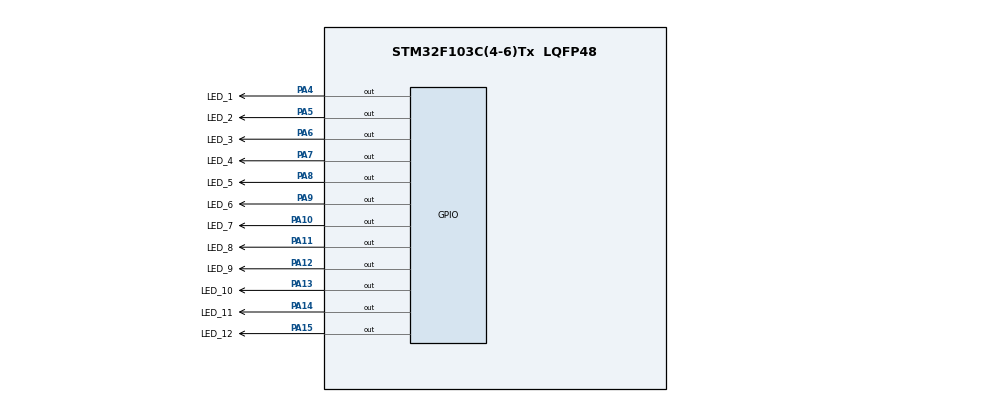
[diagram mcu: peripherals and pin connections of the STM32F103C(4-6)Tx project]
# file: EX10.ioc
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Mcu.Family=STM32F1
Mcu.Name=STM32F103C(4-6)Tx
Mcu.Package=LQFP48
NVIC.PriorityGroup=NVIC_PRIORITYGROUP_4
PA10.GPIO_Label=LED_7
PA10.Signal=GPIO_Output
PA11.GPIO_Label=LED_8
PA11.Signal=GPIO_Output
PA12.GPIO_Label=LED_9
PA12.Signal=GPIO_Output
PA13.GPIO_Label=LED_10
PA13.Signal=GPIO_Output
PA14.GPIO_Label=LED_11
PA14.Signal=GPIO_Output
PA15.GPIO_Label=LED_12
PA15.Signal=GPIO_Output
PA4.GPIO_Label=LED_1
PA4.Signal=GPIO_Output
PA5.GPIO_Label=LED_2
PA5.Signal=GPIO_Output
PA6.GPIO_Label=LED_3
PA6.Signal=GPIO_Output
PA7.GPIO_Label=LED_4
PA7.Signal=GPIO_Output
PA8.GPIO_Label=LED_5
PA8.Signal=GPIO_Output
PA9.GPIO_Label=LED_6
PA9.Signal=GPIO_Output
ProjectManager.HeapSize=0x200
ProjectManager.StackSize=0x400
ProjectManager.TargetToolchain=STM32CubeIDE
RCC.APB1Freq_Value=8000000
RCC.APB2Freq_Value=8000000
VP_SYS_VS_ND.Mode=No_Debug
board=custom

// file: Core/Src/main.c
/* USER CODE BEGIN Header */
/**
  ******************************************************************************
  * @file           : main.c
  * @brief          : Main program body
  ******************************************************************************
  * @attention
  *
  * <h2><center>&copy; Copyright (c) 2023 STMicroelectronics.
  * All rights reserved.</center></h2>
  *
  * This software component is licensed by ST under BSD 3-Clause license,
  * the "License"; You may not use this file except in compliance with the
  * License. You may obtain a copy of the License at:
  *                        opensource.org/licenses/BSD-3-Clause
  *
  ******************************************************************************
  */
/* USER CODE END Header */
#include "main.h"

void SystemClock_Config(void);
static void MX_GPIO_Init(void);

/* USER CODE BEGIN 0 */
unsigned int ledPin[12] = {LED_1_Pin, LED_2_Pin, LED_3_Pin, LED_4_Pin,
		  LED_5_Pin, LED_6_Pin, LED_7_Pin, LED_8_Pin,
		  LED_9_Pin, LED_10_Pin, LED_11_Pin, LED_12_Pin};
void clearAllClock(){
	HAL_GPIO_WritePin(GPIOA, LED_1_Pin| LED_2_Pin| LED_3_Pin| LED_4_Pin| LED_5_Pin|
    		  LED_6_Pin| LED_7_Pin| LED_8_Pin| LED_9_Pin| LED_10_Pin| LED_11_Pin| LED_12_Pin, 1);
}

void setNumberOnClock(int num){
      	HAL_GPIO_WritePin(GPIOA, ledPin[num], 0);
}

void clearNumberOnClock(int num){
	HAL_GPIO_WritePin(GPIOA, ledPin[num], 1);
}

void setTime(int hour, int minute, int second){
	setNumberOnClock(hour);
      	setNumberOnClock(minute/5);
      	setNumberOnClock(second/5);
}
/* USER CODE END 0 */

int main(void)
{

  /* MCU Configuration--------------------------------------------------------*/

  /* Reset of all peripherals, Initializes the Flash interface and the Systick. */
  HAL_Init();

  /* Configure the system clock */
  SystemClock_Config();

  /* Initialize all configured peripherals */
  MX_GPIO_Init();

  /* Infinite loop */
  /* USER CODE BEGIN WHILE */
  while (1)
  {
	  clearAllClock();
	  setTime(9, 53, 37);
	  HAL_Delay(2000);
    /* USER CODE END WHILE */

  }
}

void SystemClock_Config(void)
{
  RCC_OscInitTypeDef RCC_OscInitStruct = {0};
  RCC_ClkInitTypeDef RCC_ClkInitStruct = {0};

  /** Initializes the RCC Oscillators according to the specified parameters
  * in the RCC_OscInitTypeDef structure.
  */
  RCC_OscInitStruct.OscillatorType = RCC_OSCILLATORTYPE_HSI;
  RCC_OscInitStruct.HSIState = RCC_HSI_ON;
  RCC_OscInitStruct.HSICalibrationValue = RCC_HSICALIBRATION_DEFAULT;
  RCC_OscInitStruct.PLL.PLLState = RCC_PLL_NONE;
  if (HAL_RCC_OscConfig(&RCC_OscInitStruct) != HAL_OK)
  {
    Error_Handler();
  }
  /** Initializes the CPU, AHB and APB buses clocks
  */
  RCC_ClkInitStruct.ClockType = RCC_CLOCKTYPE_HCLK|RCC_CLOCKTYPE_SYSCLK
                              |RCC_CLOCKTYPE_PCLK1|RCC_CLOCKTYPE_PCLK2;
  RCC_ClkInitStruct.SYSCLKSource = RCC_SYSCLKSOURCE_HSI;
  RCC_ClkInitStruct.AHBCLKDivider = RCC_SYSCLK_DIV1;
  RCC_ClkInitStruct.APB1CLKDivider = RCC_HCLK_DIV1;
  RCC_ClkInitStruct.APB2CLKDivider = RCC_HCLK_DIV1;

  if (HAL_RCC_ClockConfig(&RCC_ClkInitStruct, FLASH_LATENCY_0) != HAL_OK)
  {
    Error_Handler();
  }
}

static void MX_GPIO_Init(void)
{
  GPIO_InitTypeDef GPIO_InitStruct = {0};

  /* GPIO Ports Clock Enable */
  __HAL_RCC_GPIOA_CLK_ENABLE();

  /*Configure GPIO pin Output Level */
  HAL_GPIO_WritePin(GPIOA, LED_1_Pin|LED_2_Pin|LED_3_Pin|LED_4_Pin
                          |LED_5_Pin|LED_6_Pin|LED_7_Pin|LED_8_Pin
                          |LED_9_Pin|LED_10_Pin|LED_11_Pin|LED_12_Pin, GPIO_PIN_RESET);

  /*Configure GPIO pins : LED_1_Pin LED_2_Pin LED_3_Pin LED_4_Pin
                           LED_5_Pin LED_6_Pin LED_7_Pin LED_8_Pin
                           LED_9_Pin LED_10_Pin LED_11_Pin LED_12_Pin */
  GPIO_InitStruct.Pin = LED_1_Pin|LED_2_Pin|LED_3_Pin|LED_4_Pin
                          |LED_5_Pin|LED_6_Pin|LED_7_Pin|LED_8_Pin
                          |LED_9_Pin|LED_10_Pin|LED_11_Pin|LED_12_Pin;
  GPIO_InitStruct.Mode = GPIO_MODE_OUTPUT_PP;
  GPIO_InitStruct.Pull = GPIO_NOPULL;
  GPIO_InitStruct.Speed = GPIO_SPEED_FREQ_LOW;
  HAL_GPIO_Init(GPIOA, &GPIO_InitStruct);

}

void Error_Handler(void)
{
  __disable_irq();
  while (1)
  {
  }
}

/************************ (C) COPYRIGHT STMicroelectronics *****END OF FILE****/
